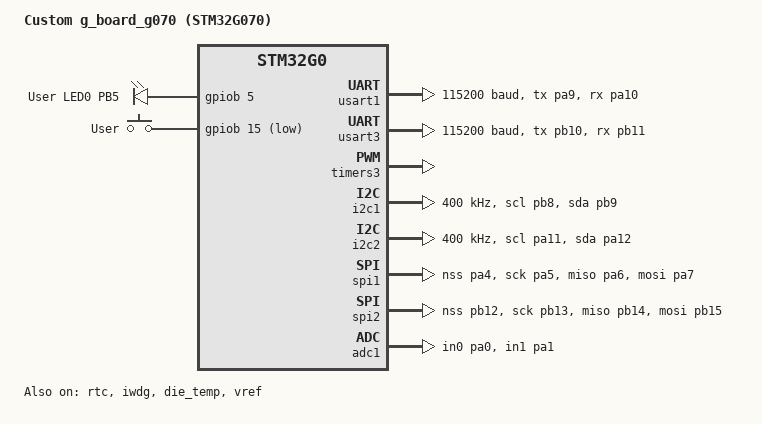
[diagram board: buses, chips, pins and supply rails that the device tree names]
/dts-v1/;
#include <st/g0/stm32g070Xb.dtsi>
#include <st/g0/stm32g070rbtx-pinctrl.dtsi>

#include <zephyr/dt-bindings/input/input-event-codes.h>

/ {
    model = "Custom g_board_g070 (STM32G070)";
    compatible = "db,g_board_g070", "db,stm32g0";

    chosen {
        zephyr,console = &usart1;  /* Debug-UART auf USART1 */
        zephyr,shell-uart = &usart1;
        zephyr,sram = &sram0;
        zephyr,flash = &flash0;
    };
	
	leds: leds {
		compatible = "gpio-leds";
		led0: led_0 {
			gpios = <&gpiob 5 GPIO_ACTIVE_HIGH>;
			label = "User LED0 PB5";
		};
	};
	
	aliases {
		led0 = &led0;
	};
	
	gpio_keys {
		compatible = "gpio-keys";
		user_button: button {
			label = "User";
			gpios = <&gpiob 15 GPIO_ACTIVE_LOW>;
			zephyr,code = <INPUT_KEY_0>;
		};
	};

	
	aliases {
		led0 = &led0;
		sw0 = &user_button;
	};

};

&usart1 {
    /* TX=PA9, RX=PA10 */
    pinctrl-0 = <&usart1_tx_pa9 &usart1_rx_pa10>;
    pinctrl-names = "default";
    current-speed = <115200>;
    status = "okay";
};



&usart3 {
    pinctrl-0 = <&usart3_tx_pb10 &usart3_rx_pb11>;
    pinctrl-names = "default";
    current-speed = <115200>;
    status = "okay";
};

&clk_lsi {
	status = "okay";
};

&clk_hsi {
	status = "okay";
};

&pll {
	div-m = <1>;
	mul-n = <8>;
	div-p = <2>;
	div-r = <2>;
	clocks = <&clk_hsi>;
	status = "okay";
};

&rcc {
	clocks = <&pll>;
	clock-frequency = <DT_FREQ_M(64)>;
	ahb-prescaler = <1>;
	apb1-prescaler = <1>;
};



&rtc {
	clocks = <&rcc STM32_CLOCK_BUS_APB1 0x00000400>,
		 <&rcc STM32_SRC_LSI RTC_SEL(2)>;

	status = "okay";
};

&iwdg {
	status = "okay";
};

&timers3 {
	st,prescaler = <10000>;
	status = "okay";
	pwm3: pwm {
		status = "okay";
		pinctrl-0 = <&tim3_ch1_pa6>;
		pinctrl-names = "default";
	};
};

&i2c1 {
	pinctrl-0 = <&i2c1_scl_pb8 &i2c1_sda_pb9>;
	pinctrl-names = "default";
	status = "okay";
	clock-frequency = <I2C_BITRATE_FAST>;
};

&i2c2 {
	pinctrl-0 = <&i2c2_scl_pa11 &i2c2_sda_pa12>;
	pinctrl-names = "default";
	status = "okay";
	clock-frequency = <I2C_BITRATE_FAST>;
};

&spi1 {
	pinctrl-0 = <&spi1_nss_pa4 &spi1_sck_pa5
		     &spi1_miso_pa6 &spi1_mosi_pa7>;
	pinctrl-names = "default";
	status = "okay";
};

&spi2 {
	pinctrl-0 = <&spi2_nss_pb12 &spi2_sck_pb13
		     &spi2_miso_pb14 &spi2_mosi_pb15>;
	pinctrl-names = "default";
	status = "okay";
};

&adc1 {
	pinctrl-0 = <&adc1_in0_pa0 &adc1_in1_pa1>;
	pinctrl-names = "default";
	st,adc-clock-source = "SYNC";
	st,adc-prescaler = <4>;
	status = "okay";
	vref-mv = <3300>;
};

&die_temp {
	status = "okay";
};

&flash0 {
	partitions {
		compatible = "fixed-partitions";
		#address-cells = <1>;
		#size-cells = <1>;

		/* Set 4KB of storage at the end of 128KB flash */
		storage_partition: partition@1f000 {
			label = "storage";
			reg = <0x0001f000 DT_SIZE_K(4)>;
		};
	};
};

&vref {
	status = "okay";
};
